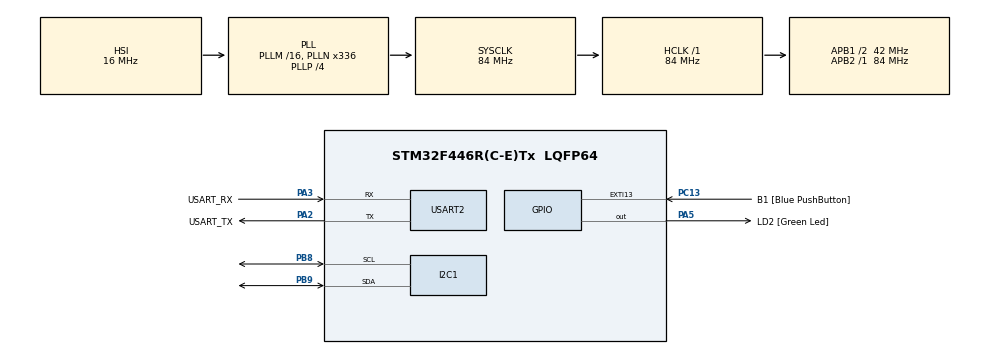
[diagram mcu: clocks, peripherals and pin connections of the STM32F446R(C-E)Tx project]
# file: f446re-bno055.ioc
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Mcu.Family=STM32F4
Mcu.Name=STM32F446R(C-E)Tx
Mcu.Package=LQFP64
NVIC.PriorityGroup=NVIC_PRIORITYGROUP_0
PA13.GPIO_Label=TMS
PA13.Mode=Serial_Wire
PA13.Signal=SYS_JTMS-SWDIO
PA14.GPIO_Label=TCK
PA14.Mode=Serial_Wire
PA14.Signal=SYS_JTCK-SWCLK
PA2.GPIO_Label=USART_TX
PA2.Mode=Asynchronous
PA2.Signal=USART2_TX
PA3.GPIO_Label=USART_RX
PA3.Mode=Asynchronous
PA3.Signal=USART2_RX
PA5.GPIO_Label=LD2 [Green Led]
PA5.Signal=GPIO_Output
PB3.GPIO_Label=SWO
PB3.Signal=SYS_JTDO-SWO
PB8.Mode=I2C
PB8.Signal=I2C1_SCL
PB9.Mode=I2C
PB9.Signal=I2C1_SDA
PC13.GPIO_Label=B1 [Blue PushButton]
PC13.GPIO_ModeDefaultEXTI=GPIO_MODE_IT_FALLING
PC13.Signal=GPXTI13
PC14-OSC32_IN.Mode=LSE-External-Oscillator
PC14-OSC32_IN.Signal=RCC_OSC32_IN
PC15-OSC32_OUT.Mode=LSE-External-Oscillator
PC15-OSC32_OUT.Signal=RCC_OSC32_OUT
PH0-OSC_IN.Mode=HSE-External-Oscillator
PH0-OSC_IN.Signal=RCC_OSC_IN
PH1-OSC_OUT.Mode=HSE-External-Oscillator
PH1-OSC_OUT.Signal=RCC_OSC_OUT
ProjectManager.HeapSize=0x200
ProjectManager.StackSize=0x400
ProjectManager.TargetToolchain=STM32CubeIDE
RCC.48MHZClocksFreq_Value=84000000
RCC.AHBFreq_Value=84000000
RCC.APB1CLKDivider=RCC_HCLK_DIV2
RCC.APB1Freq_Value=42000000
RCC.APB1TimFreq_Value=84000000
RCC.APB2Freq_Value=84000000
RCC.APB2TimFreq_Value=84000000
RCC.CortexFreq_Value=84000000
RCC.FLatency-AdvancedSettings=FLASH_LATENCY_2
RCC.HCLKFreq_Value=84000000
RCC.HSE_VALUE=8000000
RCC.HSI_VALUE=16000000
RCC.PLLN=336
RCC.PLLP=RCC_PLLP_DIV4
RCC.SYSCLKFreq_VALUE=84000000
RCC.SYSCLKSource=RCC_SYSCLKSOURCE_PLLCLK
RCC.USBFreq_Value=168000000
RCC.VCOOutputFreq_Value=336000000
USART2.VirtualMode=VM_ASYNC
board=NUCLEO-F446RE

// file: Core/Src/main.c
/* USER CODE BEGIN Header */
/**
 ******************************************************************************
 * @file           : main.c
 * @brief          : Main program body
 ******************************************************************************
 * @attention
 *
 * Copyright (c) 2026 STMicroelectronics.
 * All rights reserved.
 *
 * This software is licensed under terms that can be found in the LICENSE file
 * in the root directory of this software component.
 * If no LICENSE file comes with this software, it is provided AS-IS.
 *
 ******************************************************************************
 */
/* USER CODE END Header */
#include "main.h"

/* USER CODE BEGIN Includes */
#include <stdio.h>
/* USER CODE END Includes */

I2C_HandleTypeDef hi2c1;

UART_HandleTypeDef huart2;

/* USER CODE BEGIN PV */
#define BNO055_I2C_ADDR (0x28 << 1)

#define BNO055_CHIP_ID 0x00
#define BNO055_PAGE_ID 0x07
#define BNO055_ACCEL_DATA_X_LSB 0x08
#define BNO055_OPR_MODE 0x3D

#define BNO055_MODE_CONFIG 0x00
#define BNO055_MODE_ACCONLY 0x01

#define BNO055_ACC_CONFIG 0x08
#define BNO055_ACC_CONFIG_VALUE 0x18
/* USER CODE END PV */

void SystemClock_Config(void);
static void MX_GPIO_Init(void);
static void MX_USART2_UART_Init(void);
static void MX_I2C1_Init(void);
/* USER CODE BEGIN PFP */
HAL_StatusTypeDef bno055_init_for_accel(void);
HAL_StatusTypeDef bno055_read_accel(int16_t *ax, int16_t *ay, int16_t *az);
HAL_StatusTypeDef bno055_read_u8(uint8_t reg, uint8_t *value);
/* USER CODE END PFP */

/* USER CODE BEGIN 0 */

uint8_t i2c_found_addr[128];
uint8_t i2c_found_count = 0;
uint8_t bno055_found = 0;
uint8_t bno055_addr = 0;

void I2C_Scan(void)
{
  i2c_found_count = 0;
  bno055_found = 0;
  bno055_addr = 0;

  for (uint8_t addr = 1; addr < 128; addr++)
  {
    if (HAL_I2C_IsDeviceReady(&hi2c1, (uint16_t)(addr << 1), 2, 10) == HAL_OK)
    {
      i2c_found_addr[i2c_found_count] = addr;
      i2c_found_count++;

      if (addr == 0x28 || addr == 0x29)
      {
        bno055_found = 1;
        bno055_addr = addr;
      }
    }
  }
}

/* USER CODE END 0 */

int main(void)
{

  /* MCU Configuration--------------------------------------------------------*/

  /* Reset of all peripherals, Initializes the Flash interface and the Systick. */
  HAL_Init();

  /* Configure the system clock */
  SystemClock_Config();

  /* Initialize all configured peripherals */
  MX_GPIO_Init();
  MX_USART2_UART_Init();
  MX_I2C1_Init();
  /* USER CODE BEGIN 2 */
  I2C_Scan();

  if (bno055_init_for_accel() == HAL_OK)
  {
    printf("BNO055 init OK\r\n");
  }
  else
  {
    printf("BNO055 init ERR\r\n");
  }

  uint8_t chip_id = 0;
  uint8_t page_id = 0;
  uint8_t opr_mode = 0;

  bno055_read_u8(0x00, &chip_id);
  bno055_read_u8(0x07, &page_id);
  bno055_read_u8(0x3D, &opr_mode);

  printf("CHIP_ID=0x%02X PAGE_ID=0x%02X OPR_MODE=0x%02X\r\n",
         chip_id, page_id, opr_mode);
  /* USER CODE END 2 */

  /* Infinite loop */
  /* USER CODE BEGIN WHILE */

  printf("timestamp_ms,ax,ay,az\r\n");

  uint32_t start_ms = HAL_GetTick();
  uint32_t last_sample_ms = 0;
  uint32_t last_led_ms = 0;

  while (1)
  {
    uint32_t now_ms = HAL_GetTick();
    uint32_t elapsed_ms = now_ms - start_ms;

    if ((now_ms - last_sample_ms) >= 100)
    {
      last_sample_ms = now_ms;

      int16_t ax = 0;
      int16_t ay = 0;
      int16_t az = 0;

      if (bno055_read_accel(&ax, &ay, &az) == HAL_OK)
      {
        printf("%lu,%d,%d,%d\r\n",
               elapsed_ms,
               ax,
               ay,
               az);
      }
      else
      {
        printf("%lu,ERR,ERR,ERR\r\n", elapsed_ms);
      }
    }
    /* USER CODE END WHILE */

    /* USER CODE BEGIN 3 */
    uint32_t led_interval_ms = bno055_found ? 500 : 100;

    if ((now_ms - last_led_ms) >= led_interval_ms)
    {
      last_led_ms = now_ms;
      HAL_GPIO_TogglePin(GPIOA, GPIO_PIN_5);
    }
  }
  /* USER CODE END 3 */
}

void SystemClock_Config(void)
{
  RCC_OscInitTypeDef RCC_OscInitStruct = {0};
  RCC_ClkInitTypeDef RCC_ClkInitStruct = {0};

  /** Configure the main internal regulator output voltage
   */
  __HAL_RCC_PWR_CLK_ENABLE();
  __HAL_PWR_VOLTAGESCALING_CONFIG(PWR_REGULATOR_VOLTAGE_SCALE3);

  /** Initializes the RCC Oscillators according to the specified parameters
   * in the RCC_OscInitTypeDef structure.
   */
  RCC_OscInitStruct.OscillatorType = RCC_OSCILLATORTYPE_HSI;
  RCC_OscInitStruct.HSIState = RCC_HSI_ON;
  RCC_OscInitStruct.HSICalibrationValue = RCC_HSICALIBRATION_DEFAULT;
  RCC_OscInitStruct.PLL.PLLState = RCC_PLL_ON;
  RCC_OscInitStruct.PLL.PLLSource = RCC_PLLSOURCE_HSI;
  RCC_OscInitStruct.PLL.PLLM = 16;
  RCC_OscInitStruct.PLL.PLLN = 336;
  RCC_OscInitStruct.PLL.PLLP = RCC_PLLP_DIV4;
  RCC_OscInitStruct.PLL.PLLQ = 2;
  RCC_OscInitStruct.PLL.PLLR = 2;
  if (HAL_RCC_OscConfig(&RCC_OscInitStruct) != HAL_OK)
  {
    Error_Handler();
  }

  /** Initializes the CPU, AHB and APB buses clocks
   */
  RCC_ClkInitStruct.ClockType = RCC_CLOCKTYPE_HCLK | RCC_CLOCKTYPE_SYSCLK | RCC_CLOCKTYPE_PCLK1 | RCC_CLOCKTYPE_PCLK2;
  RCC_ClkInitStruct.SYSCLKSource = RCC_SYSCLKSOURCE_PLLCLK;
  RCC_ClkInitStruct.AHBCLKDivider = RCC_SYSCLK_DIV1;
  RCC_ClkInitStruct.APB1CLKDivider = RCC_HCLK_DIV2;
  RCC_ClkInitStruct.APB2CLKDivider = RCC_HCLK_DIV1;

  if (HAL_RCC_ClockConfig(&RCC_ClkInitStruct, FLASH_LATENCY_2) != HAL_OK)
  {
    Error_Handler();
  }
}

static void MX_I2C1_Init(void)
{

  hi2c1.Instance = I2C1;
  hi2c1.Init.ClockSpeed = 100000;
  hi2c1.Init.DutyCycle = I2C_DUTYCYCLE_2;
  hi2c1.Init.OwnAddress1 = 0;
  hi2c1.Init.AddressingMode = I2C_ADDRESSINGMODE_7BIT;
  hi2c1.Init.DualAddressMode = I2C_DUALADDRESS_DISABLE;
  hi2c1.Init.OwnAddress2 = 0;
  hi2c1.Init.GeneralCallMode = I2C_GENERALCALL_DISABLE;
  hi2c1.Init.NoStretchMode = I2C_NOSTRETCH_DISABLE;
  if (HAL_I2C_Init(&hi2c1) != HAL_OK)
  {
    Error_Handler();
  }
}

static void MX_USART2_UART_Init(void)
{

  huart2.Instance = USART2;
  huart2.Init.BaudRate = 115200;
  huart2.Init.WordLength = UART_WORDLENGTH_8B;
  huart2.Init.StopBits = UART_STOPBITS_1;
  huart2.Init.Parity = UART_PARITY_NONE;
  huart2.Init.Mode = UART_MODE_TX_RX;
  huart2.Init.HwFlowCtl = UART_HWCONTROL_NONE;
  huart2.Init.OverSampling = UART_OVERSAMPLING_16;
  if (HAL_UART_Init(&huart2) != HAL_OK)
  {
    Error_Handler();
  }
}

static void MX_GPIO_Init(void)
{
  GPIO_InitTypeDef GPIO_InitStruct = {0};

  /* GPIO Ports Clock Enable */
  __HAL_RCC_GPIOC_CLK_ENABLE();
  __HAL_RCC_GPIOH_CLK_ENABLE();
  __HAL_RCC_GPIOA_CLK_ENABLE();
  __HAL_RCC_GPIOB_CLK_ENABLE();

  /*Configure GPIO pin Output Level */
  HAL_GPIO_WritePin(LD2_GPIO_Port, LD2_Pin, GPIO_PIN_RESET);

  /*Configure GPIO pin : B1_Pin */
  GPIO_InitStruct.Pin = B1_Pin;
  GPIO_InitStruct.Mode = GPIO_MODE_IT_FALLING;
  GPIO_InitStruct.Pull = GPIO_NOPULL;
  HAL_GPIO_Init(B1_GPIO_Port, &GPIO_InitStruct);

  /*Configure GPIO pin : LD2_Pin */
  GPIO_InitStruct.Pin = LD2_Pin;
  GPIO_InitStruct.Mode = GPIO_MODE_OUTPUT_PP;
  GPIO_InitStruct.Pull = GPIO_NOPULL;
  GPIO_InitStruct.Speed = GPIO_SPEED_FREQ_LOW;
  HAL_GPIO_Init(LD2_GPIO_Port, &GPIO_InitStruct);

}

/* USER CODE BEGIN 4 */
HAL_StatusTypeDef bno055_init_for_accel(void)
{
  HAL_StatusTypeDef status;
  uint8_t value;

  // 1. CONFIG mode に入る
  value = BNO055_MODE_CONFIG;
  status = HAL_I2C_Mem_Write(
      &hi2c1,
      BNO055_I2C_ADDR,
      BNO055_OPR_MODE,
      I2C_MEMADD_SIZE_8BIT,
      &value,
      1,
      100);

  if (status != HAL_OK)
  {
    return status;
  }

  HAL_Delay(25);

  // 2. Page 1 に切り替える
  value = 0x01;
  status = HAL_I2C_Mem_Write(
      &hi2c1,
      BNO055_I2C_ADDR,
      BNO055_PAGE_ID,
      I2C_MEMADD_SIZE_8BIT,
      &value,
      1,
      100);

  if (status != HAL_OK)
  {
    return status;
  }

  HAL_Delay(10);

  // 3. 加速度センサー設定
  value = BNO055_ACC_CONFIG_VALUE;
  status = HAL_I2C_Mem_Write(
      &hi2c1,
      BNO055_I2C_ADDR,
      BNO055_ACC_CONFIG,
      I2C_MEMADD_SIZE_8BIT,
      &value,
      1,
      100);

  if (status != HAL_OK)
  {
    return status;
  }

  HAL_Delay(10);

  // 4. Page 0 に戻す
  value = 0x00;
  status = HAL_I2C_Mem_Write(
      &hi2c1,
      BNO055_I2C_ADDR,
      BNO055_PAGE_ID,
      I2C_MEMADD_SIZE_8BIT,
      &value,
      1,
      100);

  if (status != HAL_OK)
  {
    return status;
  }

  HAL_Delay(10);

  // 5. ACCONLY mode に入る
  value = BNO055_MODE_ACCONLY;
  status = HAL_I2C_Mem_Write(
      &hi2c1,
      BNO055_I2C_ADDR,
      BNO055_OPR_MODE,
      I2C_MEMADD_SIZE_8BIT,
      &value,
      1,
      100);

  if (status != HAL_OK)
  {
    return status;
  }

  HAL_Delay(100);

  return HAL_OK;
}

HAL_StatusTypeDef bno055_read_accel(int16_t *ax, int16_t *ay, int16_t *az)
{
  uint8_t buf[6];

  HAL_StatusTypeDef status = HAL_I2C_Mem_Read(
      &hi2c1,
      BNO055_I2C_ADDR,
      BNO055_ACCEL_DATA_X_LSB,
      I2C_MEMADD_SIZE_8BIT,
      buf,
      6,
      100);

  if (status != HAL_OK)
  {
    return status;
  }

  *ax = (int16_t)((buf[1] << 8) | buf[0]);
  *ay = (int16_t)((buf[3] << 8) | buf[2]);
  *az = (int16_t)((buf[5] << 8) | buf[4]);

  return HAL_OK;
}

HAL_StatusTypeDef bno055_read_u8(uint8_t reg, uint8_t *value)
{
  return HAL_I2C_Mem_Read(
      &hi2c1,
      BNO055_I2C_ADDR,
      reg,
      I2C_MEMADD_SIZE_8BIT,
      value,
      1,
      100);
}

int _write(int file, char *ptr, int len)
{
  HAL_UART_Transmit(&huart2, (uint8_t *)ptr, len, HAL_MAX_DELAY);
  return len;
}
/* USER CODE END 4 */

void Error_Handler(void)
{
  __disable_irq();
  while (1)
  {
  }
}
